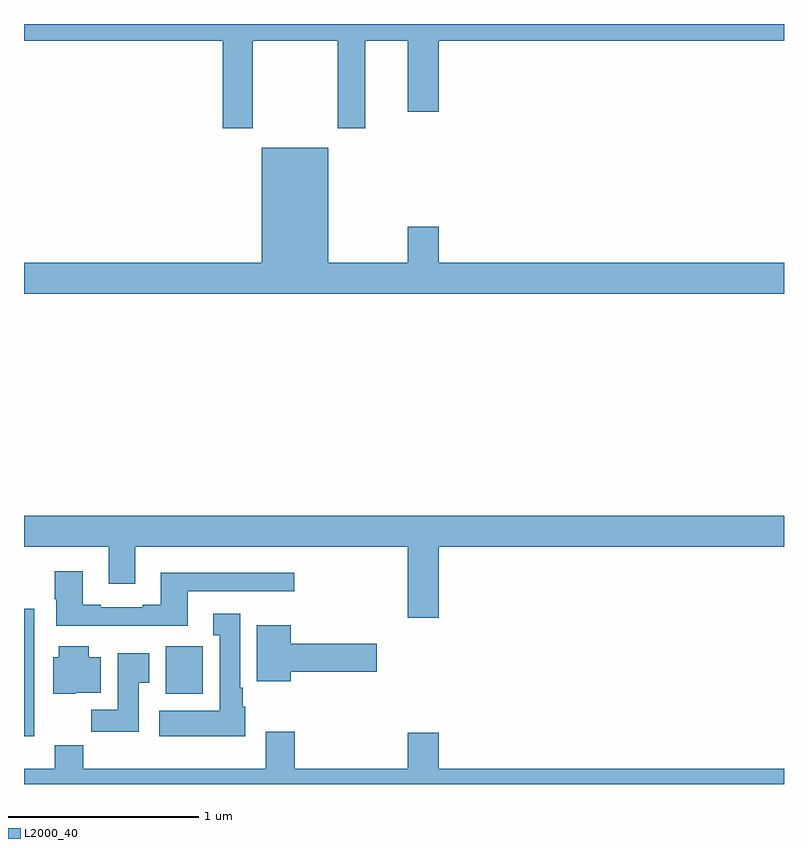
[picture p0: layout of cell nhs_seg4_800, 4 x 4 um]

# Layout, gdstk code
import gdstk
lib = gdstk.Library(unit=1e-6, precision=1e-09)
def R(c, l, rs):  # rectangles x0, y0, x1, y1
    for r in rs: c.add(gdstk.rectangle(r[:2], r[2:], *l))
def P(c, l, *ps):  # polygons
    for p in ps: c.add(gdstk.Polygon(p, *l))
L2000_40 = (2000, 40)

nhs_seg4_800 = lib.new_cell('nhs_seg4_800')
R(nhs_seg4_800, L2000_40, [(151,801.152,151.054,801.823), (151.745,801.374,151.941,801.625)])
P(nhs_seg4_800, L2000_40, [(152.205,804.812),(152.65,804.812),(152.65,804.351),(152.797,804.351),(152.797,804.812),(153.02,804.812),(153.02,804.438),(153.184,804.438),(153.184,804.812),(155,804.812),(155,804.9),(151,804.9),(151,804.812),(152.045,804.812),(152.045,804.351),(152.205,804.351)],
  [(155,803.644),(153.184,803.644),(153.184,803.833),(153.02,803.833),(153.02,803.644),(152.602,803.644),(152.602,804.25),(152.252,804.25),(152.252,803.644),(151,803.644),(151,803.48),(155,803.48)],
  [(153.184,802.148),(155,802.148),(155,802.312),(151,802.312),(151,802.148),(151.445,802.148),(151.445,801.954),(151.585,801.954),(151.585,802.148),(153.02,802.148),(153.02,801.774),(153.184,801.774)],
  [(151.861,801.915),(152.422,801.915),(152.422,802.012),(151.721,802.012),(151.721,801.844),(151.625,801.844),(151.625,801.831),(151.405,801.831),(151.405,801.844),(151.309,801.844),(151.309,802.021),(151.162,802.021),(151.162,801.873),(151.169,801.873),(151.169,801.734),(151.861,801.734)],
  [(152.164,801.306),(152.152,801.306),(152.152,801.406),(152.137,801.406),(152.137,801.796),(151.997,801.796),(151.997,801.683),(152.03,801.683),(152.03,801.286),(151.713,801.286),(151.713,801.152),(152.164,801.152)],
  [(152.404,801.491),(152.857,801.491),(152.857,801.638),(152.404,801.638),(152.404,801.736),(152.225,801.736),(152.225,801.44),(152.404,801.44)],
  [(151.272,801.38),(151.405,801.38),(151.405,801.568),(151.342,801.568),(151.342,801.625),(151.184,801.625),(151.184,801.568),(151.154,801.568),(151.154,801.374),(151.272,801.374)],
  [(151.603,801.433),(151.66,801.433),(151.66,801.589),(151.493,801.589),(151.493,801.292),(151.354,801.292),(151.354,801.174),(151.603,801.174)],
  [(155,800.98),(153.184,800.98),(153.184,801.169),(153.02,801.169),(153.02,800.98),(152.426,800.98),(152.426,801.175),(152.273,801.175),(152.273,800.98),(151.313,800.98),(151.313,801.104),(151.162,801.104),(151.162,800.98),(151,800.98),(151,800.9),(155,800.9)])

lib.write_gds('nhs_seg4_800.gds')
